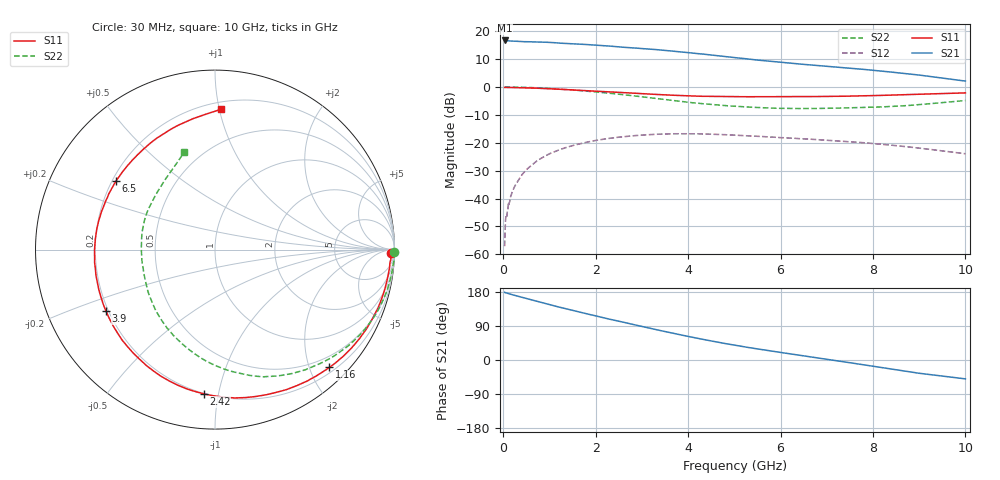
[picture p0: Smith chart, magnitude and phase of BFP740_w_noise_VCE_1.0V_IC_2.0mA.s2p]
! Infineon Technologies  Discrete & RF Semiconductors
! BFP740
! VCE =  1.0 V,  IC =  2.0 mA
! Common Emitter S-Parameters:  Jan 2016
# GHz  S  MA  R  50
!  f  S11  S21  S12  S22
! GHz  MAG  ANG  MAG  ANG  MAG  ANG  MAG  ANG
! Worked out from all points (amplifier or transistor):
!   229 points, 30 MHz to 10 GHz, reference 50 ohm
!   highest |S21| = 16.7 dB at 30 MHz (marker M1)
!   |S21| within 3 dB of that: start of sweep to 3.088 GHz
!   unconditionally stable (mu >= 1): 8.601 GHz to end of sweep
!   at 280 MHz: K = 0.05, MSG = 25.6 dB, |S12| = -34.8 dB
!   at 1.78 GHz: K = 0.17, MSG = 17.6 dB, |S12| = -19.9 dB
!   at 10 GHz: K = 1.33, MAG = 9.6 dB, |S12| = -23.9 dB
!   lowest NFmin = 0.46 dB at 450 MHz
!   S11 on the Smith chart (normalised r, x): 30 MHz: 48, -49; 1.16 GHz: 0.29, -2.34; 2.42 GHz: 0.20, -0.90; 3.9 GHz: 0.19, -0.25; 6.5 GHz: 0.22, +0.30; 10 GHz: 0.25, +1.01
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0.03  0.9796 -1.2  6.81 178.4  0.0014 68.9  0.9986 -0.9
0.04  0.9801 -1.6  6.601 178.0  0.0024 87.1  0.9993 -1.2
0.06  0.9808 -2.4  6.705 177.2  0.0051 91.7  0.9984 -1.8
0.08  0.9816 -3.2  6.689 176.5  0.0048 92.9  0.9986 -2.4
0.26  0.9734 -10.4  6.609 170.2  0.0172 83.1  0.9932 -7.8
0.5  0.9645 -19.8  6.457 162.4  0.0328 76.1  0.9821 -14.9
0.9  0.9379 -35.7  6.353 149.5  0.0573 64.0  0.9501 -26.7
1.16  0.9148 -45.8  6.155 141.2  0.0719 56.5  0.9209 -34.4
1.7  0.8657 -66.8  5.814 125.0  0.0975 42.4  0.8539 -49.4
2.1  0.8339 -82.4  5.535 113.4  0.1136 32.2  0.7981 -61.0
2.42  0.8059 -94.5  5.289 104.5  0.1235 24.4  0.7548 -69.7
2.9  0.7676 -112.9  4.954 91.3  0.1352 13.4  0.6812 -83.0
3.4  0.7275 -132.2  4.602 77.7  0.1425 2.3  0.6076 -97.7
3.9  0.697 -150.7  4.221 64.8  0.1449 -8.4  0.5416 -112.8
4.5  0.6751 -170.8  3.735 50.3  0.1421 -19.8  0.4842 -129.9
5.1  0.6686 172.6  3.294 37.2  0.136 -29.6  0.4469 -144.8
5.8  0.6656 157.5  2.872 23.6  0.1262 -39.1  0.4181 -161.0
6.5  0.671 145.3  2.539 11.0  0.1174 -47.1  0.4102 -177.9
6.8  0.6733 139.9  2.42 5.6  0.1136 -50.4  0.4113 175.2
8.4  0.7147 110.0  1.845 -24.0  0.0904 -66.4  0.4465 138.9
9  0.7398 99.5  1.633 -35.0  0.0802 -71.0  0.4822 124.4
10  0.7823 87.5  1.273 -49.8  0.0635 -73.0  0.571 107.4
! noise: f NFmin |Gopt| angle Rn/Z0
0.45  0.46  0.57  13  0.36
0.9  0.48  0.58  20  0.35
1.5  0.55  0.56  30  0.33
1.9  0.59  0.53  44  0.32
2.4  0.63  0.53  51  0.31
3.5  0.77  0.49  75  0.29
5.5  1.07  0.36  151  0.25
10  1.84  0.61  -89  0.34
